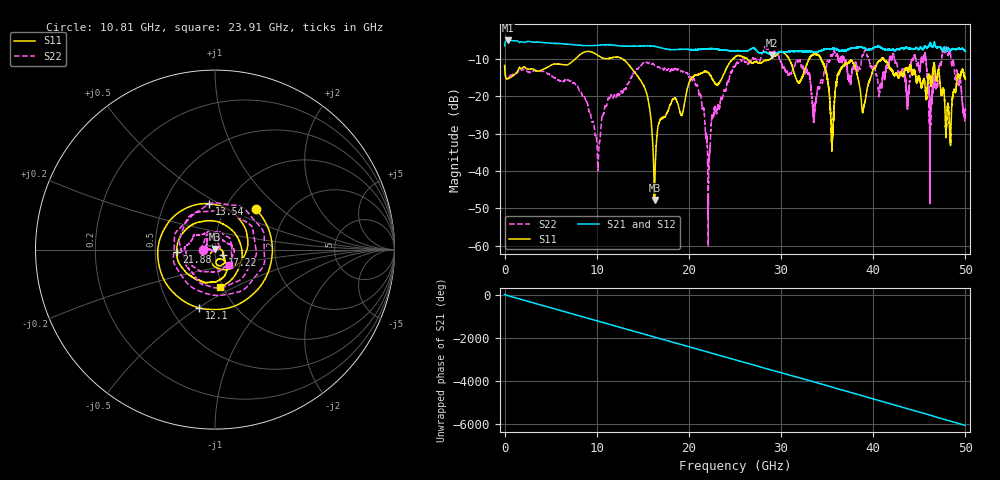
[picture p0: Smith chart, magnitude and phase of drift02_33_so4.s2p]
!Created with skrf (http://scikit-rf.org).
# Hz S RI R 50.0
!freq ReS11 ImS11 ReS21 ImS21 ReS12 ImS12 ReS22 ImS22
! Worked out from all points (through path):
!   10001 points, 300 kHz to 50 GHz, reference 50 ohm
!   highest |S21| = -5.04 dB at 325.3 MHz (marker M1); lowest = -8.9 dB at 28.98 GHz (marker M2)
!   group delay of S21, straight-line fit = 336 ps
!   lowest |S11| = -47.8 dB at 16.27 GHz (marker M3), VSWR 1.01, Z = 49.9 + j0.403 ohm
!   |S11| at or under -10 dB: start of sweep to 7.667 GHz; 12.81 GHz to 24.77 GHz (11.96 GHz wide, 63.6 % of centre); 41.13 GHz to end of sweep (the widest 3 of 12)
!   |S22| runs from -60.1 to -6.8 dB; largest |S21 - S12| = 0.03
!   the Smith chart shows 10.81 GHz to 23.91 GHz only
!   S11 on the Smith chart (normalised r, x): 10.81 GHz: 1.38, +0.70; 12.1 GHz: 0.69, -0.50; 13.54 GHz: 0.82, +0.45; 17.22 GHz: 1.09, -0.07; 21.88 GHz: 0.65, -0.01; 23.91 GHz: 0.97, -0.43
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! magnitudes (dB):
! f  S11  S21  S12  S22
! 300 kHz  -11.7  -6.5  -6.5  -11.6
! 325.3 MHz  -15.3  -5.0  -5.0  -15.1
! 8.335 GHz  -8.6  -6.4  -6.4  -19.1
! 10.11 GHz  -9.0  -6.3  -6.3  -38.5
! 10.81 GHz  -9.8  -6.2  -6.2  -23.6
! 12.1 GHz  -9.5  -6.4  -6.4  -20.3
! 13.54 GHz  -11.8  -6.6  -6.6  -15.9
! 16.27 GHz  -47.8  -6.6  -6.6  -11.7
! 16.67 GHz  -27.8  -6.8  -6.8  -12.2
! 17.22 GHz  -25.6  -7.2  -7.2  -12.8
! 20.74 GHz  -14.3  -7.4  -7.5  -17.0
! 21.88 GHz  -13.4  -7.3  -7.3  -29.9
! 23.91 GHz  -13.5  -7.6  -7.6  -18.5
! 25 GHz  -9.6  -7.9  -7.8  -11.9
! 28.98 GHz  -9.7  -8.9  -8.9  -8.0
! 33.34 GHz  -9.1  -8.0  -8.0  -20.2
! 35.55 GHz  -32.4  -7.2  -7.2  -9.1
! 36.79 GHz  -11.7  -7.9  -8.0  -9.7
! 41.67 GHz  -11.9  -7.4  -7.6  -11.6
! 46.25 GHz  -17.4  -6.1  -6.1  -21.4
! 48.13 GHz  -22.1  -7.1  -7.1  -8.8
! 50 GHz  -15.4  -7.9  -7.8  -24.1
